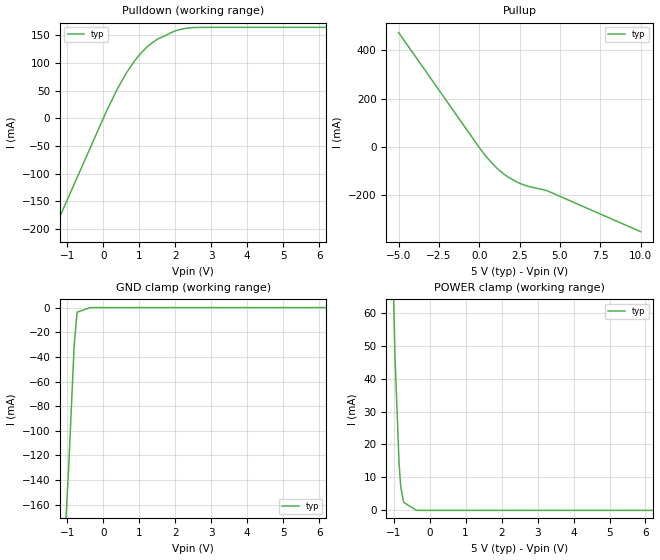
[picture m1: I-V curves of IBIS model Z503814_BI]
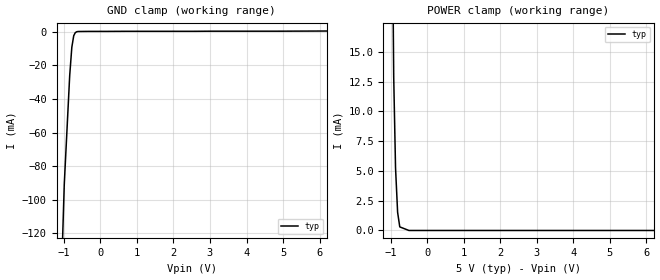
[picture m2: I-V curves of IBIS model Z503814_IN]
| YOU ARE ONLY AUTHORIZED TO USE THIS SOFTWARE
| ACCORDING TO LICENSOR'S LICENSE RESTRICTIONS.
[IBIS Ver] 3.1
[File Name] mc74ac652n_5.ibs
[File Rev] 2.0
[Source] Measured and created by ICX Technology
[Date] Friday 7/14/00 9:08:00 AM
[Copyright]
| (C) COPYRIGHT 1993-2000
| MENTOR GRAPHICS CORPORATION
| ICX STANDARD LIBRARY, ICX PROJECT MODELING,
| ICX CUSTOM MODELING, ICX VENDOR MODEL
| ALL RIGHTS RESERVED.
| THE FOLLOWING ARE TRADEMARKS OR SERVICE MARKS OF
| MENTOR GRAPHICS CORPORATION:ICX (R), ICX STANDARD
| LIBRARY(R), ICX PROJECT MODELING(R), ICX CUSTOM
| MODELING(R), qualityIBIS(TM), MODELVIEWER(TM),
| AND MODELEDITOR(TM)
| ALL COPIES OF SOFTWARE, INCLUDING BUT NOT LIMITED TO
| ANY MODIFICATIONS, ENHANCEMENTS OR DERIVATIVE WORKS,
| MUST CONTAIN ALL MENTOR GRAPHICS CORPORATION'S
| NOTICES AND LEGENDS, INCLUDING THOSE EMBEDDED IN
| SOFTWARE AND THOSE AFFIXED TO SOFTWARE MEDIUM
| AND CONTAINER, AS RECEIVED FROM MENTOR GRAPHICS
| CORPORATION.
|  ZAP Model Builder 2.7
[Component] MC74AC652N_5
[Manufacturer] OnSemiconductor
[Package]
| variable   typ   min   max
R_pkg  .22ohms NA NA
L_pkg  6.927nH NA NA
C_pkg  1.437pF NA NA
[Pin] signal_name  model_name  R_pin  L_pin C_pin
1 CAB Z503814_IN .24 12.76n 2.162p
2 SAB Z503814_IN .232 9.76n 1.872p
3 GAB Z503814_IN .224 7.26n 1.582p
4 A0 Z503814_BI .216 5.26n 1.292p
5 A1 Z503814_BI .208 3.76n 1.002p
6 A2 Z503814_BI .2 2.76n .712p
7 A3 Z503814_BI .2 2.76n .712p
8 A4 Z503814_BI .208 3.76n 1.002p
9 A5 Z503814_BI .216 5.26n 1.292p
10 A6 Z503814_BI .224 7.26n 1.582p
11 A7 Z503814_BI .232 9.76n 1.872p
12 GND GND .24 12.76n 2.162p
13 B7 Z503814_BI .24 12.76n 2.162p
14 B6 Z503814_BI .232 9.76n 1.872p
15 B5 Z503814_BI .224 7.26n 1.582p
16 B4 Z503814_BI .216 5.26n 1.292p
17 B3 Z503814_BI .208 3.76n 1.002p
18 B2 Z503814_BI .2 2.76n .712p
19 B1 Z503814_BI .2 2.76n .712p
20 B0 Z503814_BI .208 3.76n 1.002p
21 _GBA Z503814_IN .216 5.26n 1.292p
22 SBA Z503814_IN .224 7.26n 1.582p
23 CBA Z503814_IN .232 9.76n 1.872p
24 VCC POWER .24 12.76n 2.162p
| Models and submodels in the file (2): Z503814_BI (I/O), Z503814_IN (Input)
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| (C) COPYRIGHT 1993-2000
| MENTOR GRAPHICS CORPORATION
| ICX STANDARD LIBRARY, ICX PROJECT MODELING,
| ICX CUSTOM MODELING, ICX VENDOR MODEL
| ALL RIGHTS RESERVED.
| THE FOLLOWING ARE TRADEMARKS OR SERVICE MARKS OF
| MENTOR GRAPHICS CORPORATION:ICX (R), ICX STANDARD
| LIBRARY(R), ICX PROJECT MODELING(R), ICX CUSTOM
| MODELING(R), qualityIBIS(TM), MODELVIEWER(TM),
| AND MODELEDITOR(TM)
| ALL COPIES OF SOFTWARE, INCLUDING BUT NOT LIMITED TO
| ANY MODIFICATIONS, ENHANCEMENTS OR DERIVATIVE WORKS,
| MUST CONTAIN ALL MENTOR GRAPHICS CORPORATION'S
| NOTICES AND LEGENDS, INCLUDING THOSE EMBEDDED IN
| SOFTWARE AND THOSE AFFIXED TO SOFTWARE MEDIUM
| AND CONTAINER, AS RECEIVED FROM MENTOR GRAPHICS
| CORPORATION.
| Model Application Version 1.89 2/18/99.
[Model] Z503814_BI
Model_type I/O
Vinl=1.500V
Vinh=3.500V
Vref=0.000V
Rref=500.0ohms
Cref=50.00pF
Vmeas=2.500V
C_comp 8.000pF NA NA
| variable typ   min   max
[Voltage Range] 5.000V NA NA
[POWER Clamp Reference] 5.000V NA NA
[Pullup Reference] 5.000V NA NA
[Pulldown Reference] 0.000V NA NA
[GND Clamp Reference] 0.000V NA NA
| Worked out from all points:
|   slope of the pulldown table from 0 to 0.75 V, typ, clamps not added: 8.13 ohm
|   slope of the pullup table from 0 to 0.75 V, typ, clamps not added: 12.1 ohm
[GND Clamp]
-5V       -2.373A    NA         NA
-957.5mV  -126.6mA   NA         NA
-810.1mV  -30.41mA   NA         NA
-728.7mV  -3.768mA   NA         NA
-364.3mV  0A         NA         NA
10V       0A         NA         NA
[Pulldown]
-5V       -734.1mA   NA         NA
73.85mV   11.03mA    NA         NA
371.9mV   51.02mA    NA         NA
634.9mV   81.65mA    NA         NA
908.7mV   107.3mA    NA         NA
1.221V    129.5mA    NA         NA
1.412V    139.2mA    NA         NA
1.875V    154.7mA    NA         NA
2.188V    161.4mA    NA         NA
2.525V    164.2mA    NA         NA
10V       164.5mA    NA         NA
[Pullup]
-5V       474.2mA    NA         NA
36mV      -5.847mA   NA         NA
806mV     -68.71mA   NA         NA
1.197V    -94.39mA   NA         NA
1.803V    -125.2mA   NA         NA
2.399V    -147.3mA   NA         NA
3.022V    -162.7mA   NA         NA
4.203V    -181.4mA   NA         NA
10V       -351mA     NA         NA
[POWER Clamp]
-5V       1.963A     NA         NA
-966mV    47.34mA    NA         NA
-851mV    14.29mA    NA         NA
-805mV    7.236mA    NA         NA
-722mV    2.407mA    NA         NA
-361mV    0A         NA         NA
10V       0A         NA         NA
[Ramp]
| variable typ min max
dV/dt_r 2.952/305.6p NA NA
dV/dt_f 2.952/346.4p NA NA
R_load = 500.0Ohms
| (C) COPYRIGHT 1993-2000
| MENTOR GRAPHICS CORPORATION
| ICX STANDARD LIBRARY, ICX PROJECT MODELING,
| ICX CUSTOM MODELING, ICX VENDOR MODEL
| ALL RIGHTS RESERVED.
| THE FOLLOWING ARE TRADEMARKS OR SERVICE MARKS OF
| MENTOR GRAPHICS CORPORATION:ICX (R), ICX STANDARD
| LIBRARY(R), ICX PROJECT MODELING(R), ICX CUSTOM
| MODELING(R), qualityIBIS(TM), MODELVIEWER(TM),
| AND MODELEDITOR(TM)
| ALL COPIES OF SOFTWARE, INCLUDING BUT NOT LIMITED TO
| ANY MODIFICATIONS, ENHANCEMENTS OR DERIVATIVE WORKS,
| MUST CONTAIN ALL MENTOR GRAPHICS CORPORATION'S
| NOTICES AND LEGENDS, INCLUDING THOSE EMBEDDED IN
| SOFTWARE AND THOSE AFFIXED TO SOFTWARE MEDIUM
| AND CONTAINER, AS RECEIVED FROM MENTOR GRAPHICS
| CORPORATION.
| Model Application Version 1.89 2/18/99.
[Model] Z503814_IN
Model_type Input
Vinl = 1.500V
Vinh = 3.500V
C_comp 4.000pF NA NA
| variable typ   min   max
[Voltage Range] 5.000V NA NA
[GND Clamp Reference] 0.000V NA NA
[POWER Clamp Reference] 5.000V NA NA
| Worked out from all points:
|   GND clamp passes 1 mA (typ) near -0.70 V on its own axis
|   POWER clamp passes 1 mA (typ) near -0.79 V on its own axis
[GND Clamp]
-5V       -2.939A    NA         NA
-988.5mV  -90.98mA   NA         NA
-839.8mV  -26.2mA    NA         NA
-781.1mV  -9.24mA    NA         NA
-729.1mV  -2.398mA   NA         NA
-687.3mV  -607.6uA   NA         NA
-648.3mV  -43.92uA   NA         NA
10V       676.2uA    NA         NA
[POWER Clamp]
-5V       3.228A     NA         NA
-1.117V   108.3mA    NA         NA
-1.02V    49.81mA    NA         NA
-918mV    12.91mA    NA         NA
-868mV    5.268mA    NA         NA
-811mV    1.523mA    NA         NA
-752mV    300.8uA    NA         NA
-501.3mV  0A         NA         NA
10V       0A         NA         NA
